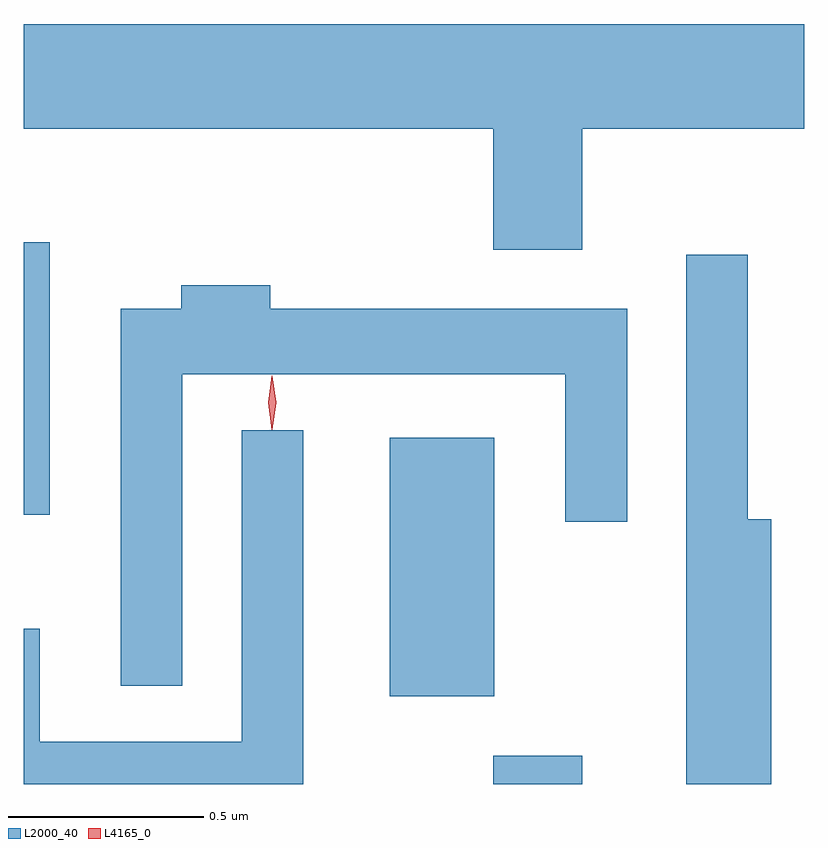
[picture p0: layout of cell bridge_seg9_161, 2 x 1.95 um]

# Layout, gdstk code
import gdstk
lib = gdstk.Library(unit=1e-6, precision=1e-09)
def R(c, l, rs):  # rectangles x0, y0, x1, y1
    for r in rs: c.add(gdstk.rectangle(r[:2], r[2:], *l))
def P(c, l, *ps):  # polygons
    for p in ps: c.add(gdstk.Polygon(p, *l))
L2000_40 = (2000, 40)
L4165_0 = (4165, 0)

bridge_seg9_161 = lib.new_cell('bridge_seg9_161')
R(bridge_seg9_161, L2000_40, [(1375.841,2070.056,1376.069,2070.129), (1375.576,2070.281,1375.844,2070.944), (1374.638,2070.746,1374.704,2071.444)])
P(bridge_seg9_161, L2000_40, [(1376.069,2071.736),(1376.638,2071.736),(1376.638,2072.004),(1374.638,2072.004),(1374.638,2071.736),(1375.841,2071.736),(1375.841,2071.426),(1376.069,2071.426)],
  [(1376.554,2070.734),(1376.494,2070.734),(1376.494,2071.413),(1376.336,2071.413),(1376.336,2070.056),(1376.554,2070.056)],
  [(1375.044,2071.106),(1376.026,2071.106),(1376.026,2070.728),(1376.184,2070.728),(1376.184,2071.274),(1375.269,2071.274),(1375.269,2071.334),(1375.041,2071.334),(1375.041,2071.274),(1374.886,2071.274),(1374.886,2070.308),(1375.044,2070.308)],
  [(1375.354,2070.963),(1375.196,2070.963),(1375.196,2070.164),(1374.679,2070.164),(1374.679,2070.454),(1374.638,2070.454),(1374.638,2070.056),(1375.354,2070.056)])
P(bridge_seg9_161, L4165_0, [(1375.274,2070.964),(1375.265,2071.033),(1375.274,2071.103),(1375.275,2071.103),(1375.275,2071.103),(1375.285,2071.033),(1375.275,2070.964),(1375.275,2070.964)],
  [(1375.275,2070.967),(1375.274,2070.968),(1375.265,2071.034),(1375.274,2071.1),(1375.275,2071.101),(1375.275,2071.1),(1375.285,2071.034),(1375.275,2070.968)])

lib.write_gds('bridge_seg9_161.gds')
